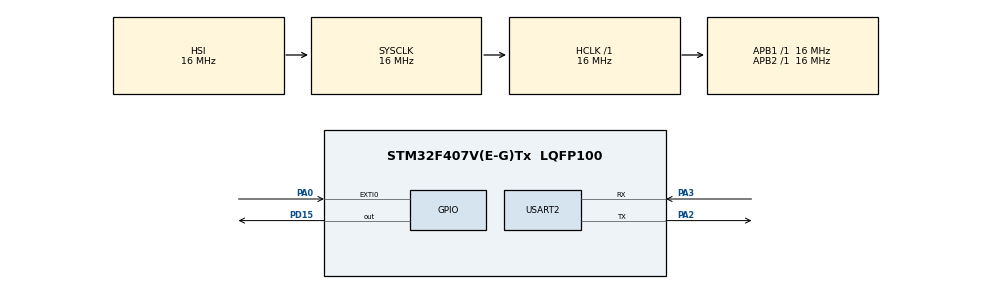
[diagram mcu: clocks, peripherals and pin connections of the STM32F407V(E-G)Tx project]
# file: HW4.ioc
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Mcu.Family=STM32F4
Mcu.Name=STM32F407V(E-G)Tx
Mcu.Package=LQFP100
NVIC.EXTI0_IRQn=true\:0\:0\:false\:false\:true\:true\:true\:true
NVIC.PriorityGroup=NVIC_PRIORITYGROUP_4
NVIC.USART2_IRQn=true\:0\:0\:false\:false\:true\:true\:true\:true
PA0-WKUP.Signal=GPXTI0
PA13.Mode=Serial_Wire
PA13.Signal=SYS_JTMS-SWDIO
PA14.Mode=Serial_Wire
PA14.Signal=SYS_JTCK-SWCLK
PA2.Mode=Asynchronous
PA2.Signal=USART2_TX
PA3.Mode=Asynchronous
PA3.Signal=USART2_RX
PD15.Signal=GPIO_Output
ProjectManager.HeapSize=0x200
ProjectManager.StackSize=0x400
ProjectManager.TargetToolchain=CMake
RCC.AHBFreq_Value=16000000
RCC.APB1Freq_Value=16000000
RCC.APB2Freq_Value=16000000
RCC.CortexFreq_Value=16000000
RCC.HSE_VALUE=25000000
RCC.HSI_VALUE=16000000
RCC.LSE_VALUE=32768
RCC.SYSCLKFreq_VALUE=16000000
RCC.VCOOutputFreq_Value=192000000
USART2.VirtualMode=VM_ASYNC
board=custom

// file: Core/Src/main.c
/* USER CODE BEGIN Header */
/**
  ******************************************************************************
  * @file           : main.c
  * @brief          : Main program body
  ******************************************************************************
  * @attention
  *
  * Copyright (c) 2026 STMicroelectronics.
  * All rights reserved.
  *
  * This software is licensed under terms that can be found in the LICENSE file
  * in the root directory of this software component.
  * If no LICENSE file comes with this software, it is provided AS-IS.
  *
  ******************************************************************************
  */
/* USER CODE END Header */
#include "main.h"

/* USER CODE BEGIN Includes */
#include "string.h"
/* USER CODE END Includes */

UART_HandleTypeDef huart2;

void SystemClock_Config(void);
static void MX_GPIO_Init(void);
static void MX_USART2_UART_Init(void);

/* USER CODE BEGIN 0 */
uint8_t rx_buff[50];
uint16_t rx_index = 0;
uint8_t byte;
volatile uint8_t flag_rx = 0;
volatile uint8_t flag_start_tx = 0;
/* USER CODE END 0 */

int main(void)
{

  /* MCU Configuration--------------------------------------------------------*/

  /* Reset of all peripherals, Initializes the Flash interface and the Systick. */
  HAL_Init();

  /* Configure the system clock */
  SystemClock_Config();

  /* Initialize all configured peripherals */
  MX_GPIO_Init();
  MX_USART2_UART_Init();
  /* USER CODE BEGIN 2 */
  HAL_UART_Transmit(&huart2,(uint8_t*)"READY\n", 6, 100);
  HAL_UART_Receive_IT(&huart2, &byte, 1);
 // HAL_GPIO_WritePin(GPIOD, GPIO_PIN_15, GPIO_PIN_SET);
  /* USER CODE END 2 */

  /* Infinite loop */
  while (1)
  {

    /* USER CODE BEGIN 3 */
    if (flag_start_tx == 1) {
      HAL_Delay(400);
      flag_start_tx = 0;
      HAL_UART_Transmit(&huart2, (uint8_t*)"LED_TOGGLE\n", 11, 100);
    }

    if (flag_rx) {
      flag_rx = 0;
      if (strcmp((char*)rx_buff, "LED_TOGGLE") == 0) {
        HAL_UART_Transmit(&huart2, (uint8_t*)"OK\n", 3, 100);
        //HAL_GPIO_WritePin(GPIOD, GPIO_PIN_15, GPIO_PIN_SET);
        HAL_GPIO_TogglePin(GPIOD, GPIO_PIN_15);
      } else {
        HAL_UART_Transmit(&huart2, (uint8_t*)"unknown_command\n", 16, 100);
      }
      memset(rx_buff, 0, sizeof(rx_buff));
    }
  }
  /* USER CODE END 3 */
}

void SystemClock_Config(void)
{
  RCC_OscInitTypeDef RCC_OscInitStruct = {0};
  RCC_ClkInitTypeDef RCC_ClkInitStruct = {0};

  /** Configure the main internal regulator output voltage
  */
  __HAL_RCC_PWR_CLK_ENABLE();
  __HAL_PWR_VOLTAGESCALING_CONFIG(PWR_REGULATOR_VOLTAGE_SCALE1);

  /** Initializes the RCC Oscillators according to the specified parameters
  * in the RCC_OscInitTypeDef structure.
  */
  RCC_OscInitStruct.OscillatorType = RCC_OSCILLATORTYPE_HSI;
  RCC_OscInitStruct.HSIState = RCC_HSI_ON;
  RCC_OscInitStruct.HSICalibrationValue = RCC_HSICALIBRATION_DEFAULT;
  RCC_OscInitStruct.PLL.PLLState = RCC_PLL_NONE;
  if (HAL_RCC_OscConfig(&RCC_OscInitStruct) != HAL_OK)
  {
    Error_Handler();
  }

  /** Initializes the CPU, AHB and APB buses clocks
  */
  RCC_ClkInitStruct.ClockType = RCC_CLOCKTYPE_HCLK|RCC_CLOCKTYPE_SYSCLK
                              |RCC_CLOCKTYPE_PCLK1|RCC_CLOCKTYPE_PCLK2;
  RCC_ClkInitStruct.SYSCLKSource = RCC_SYSCLKSOURCE_HSI;
  RCC_ClkInitStruct.AHBCLKDivider = RCC_SYSCLK_DIV1;
  RCC_ClkInitStruct.APB1CLKDivider = RCC_HCLK_DIV1;
  RCC_ClkInitStruct.APB2CLKDivider = RCC_HCLK_DIV1;

  if (HAL_RCC_ClockConfig(&RCC_ClkInitStruct, FLASH_LATENCY_0) != HAL_OK)
  {
    Error_Handler();
  }
}

static void MX_USART2_UART_Init(void)
{

  huart2.Instance = USART2;
  huart2.Init.BaudRate = 115200;
  huart2.Init.WordLength = UART_WORDLENGTH_8B;
  huart2.Init.StopBits = UART_STOPBITS_1;
  huart2.Init.Parity = UART_PARITY_NONE;
  huart2.Init.Mode = UART_MODE_TX_RX;
  huart2.Init.HwFlowCtl = UART_HWCONTROL_NONE;
  huart2.Init.OverSampling = UART_OVERSAMPLING_16;
  if (HAL_UART_Init(&huart2) != HAL_OK)
  {
    Error_Handler();
  }

}

static void MX_GPIO_Init(void)
{
  GPIO_InitTypeDef GPIO_InitStruct = {0};

  /* GPIO Ports Clock Enable */
  __HAL_RCC_GPIOA_CLK_ENABLE();
  __HAL_RCC_GPIOD_CLK_ENABLE();

  /*Configure GPIO pin Output Level */
  HAL_GPIO_WritePin(GPIOD, GPIO_PIN_15, GPIO_PIN_RESET);

  /*Configure GPIO pin : PA0 */
  GPIO_InitStruct.Pin = GPIO_PIN_0;
  GPIO_InitStruct.Mode = GPIO_MODE_IT_RISING;
  GPIO_InitStruct.Pull = GPIO_NOPULL;
  HAL_GPIO_Init(GPIOA, &GPIO_InitStruct);

  /*Configure GPIO pin : PD15 */
  GPIO_InitStruct.Pin = GPIO_PIN_15;
  GPIO_InitStruct.Mode = GPIO_MODE_OUTPUT_PP;
  GPIO_InitStruct.Pull = GPIO_NOPULL;
  GPIO_InitStruct.Speed = GPIO_SPEED_FREQ_LOW;
  HAL_GPIO_Init(GPIOD, &GPIO_InitStruct);

  /* EXTI interrupt init*/
  HAL_NVIC_SetPriority(EXTI0_IRQn, 0, 0);
  HAL_NVIC_EnableIRQ(EXTI0_IRQn);

}

/* USER CODE BEGIN 4 */
void HAL_GPIO_EXTI_Callback(uint16_t GPIO_Pin) {
  if (GPIO_Pin == GPIO_PIN_0) {
    flag_start_tx = 1;
  }
}

void HAL_UART_RxCpltCallback(UART_HandleTypeDef *huart) {
    if (huart->Instance == USART2) {
      if (byte == '\n' || byte == '\r') {
        rx_buff[rx_index] = '\0';
        rx_index = 0;
        flag_rx = 1;
      } else {
        if (rx_index < sizeof(rx_buff) - 1) {
          rx_buff[rx_index++] = byte;
        }
      }
      HAL_UART_Receive_IT(&huart2, &byte, 1);
    }
}

void HAL_UART_TxCpltCallback(UART_HandleTypeDef *huart) {
  if (huart->Instance == USART2) {

  }
}

/* USER CODE END 4 */

void Error_Handler(void)
{
  __disable_irq();
  while (1)
  {
  }
}
